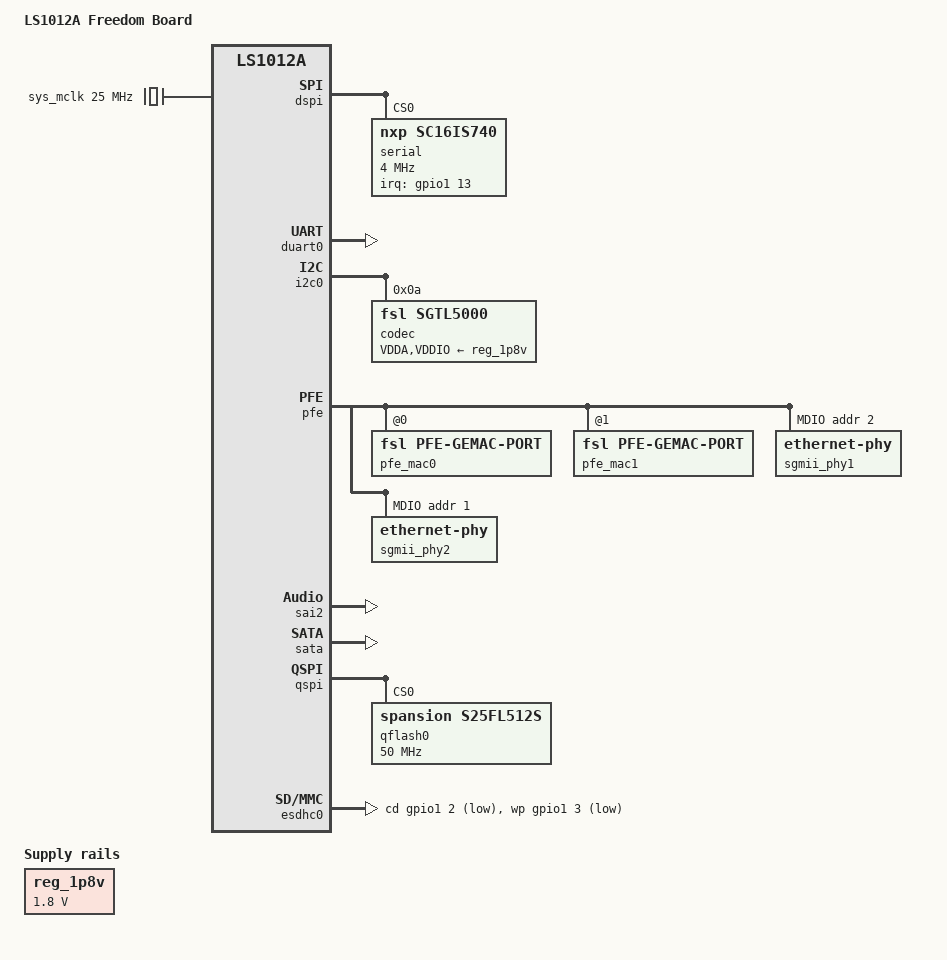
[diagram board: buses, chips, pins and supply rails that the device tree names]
// SPDX-License-Identifier: (GPL-2.0+ OR MIT)
/*
 * Device Tree file for Freescale LS1012A Freedom Board.
 *
 * [references]
 * - https://github.com/lede-project/source/blob/master/target/linux/layerscape/patches-5.4/902-layerscape_improve_support_of_LS1012A-FRDM.patch
 *
 * Copyright 2016 Freescale Semiconductor, Inc.
 *
 */
/dts-v1/;

#include "fsl-ls1012a.dtsi"
 
#include <dt-bindings/interrupt-controller/irq.h>
#include <dt-bindings/gpio/gpio.h>

/ {
	model = "LS1012A Freedom Board";
	compatible = "fsl,ls1012a-frdm", "fsl,ls1012a";

	aliases {
		gpio0 = &gpio0;
		gpio1 = &gpio1;
		spi0 = &qspi;
		spi1 = &dspi;
		mmc0 = &esdhc0;
		serial = &duart0;
		ethernet0 = &pfe_mac0;
		ethernet1 = &pfe_mac1;
	};

	sys_mclk: clock-mclk {
		compatible = "fixed-clock";
		#clock-cells = <0>;
		clock-frequency = <25000000>;
	};

	reg_1p8v: regulator-1p8v {
		compatible = "regulator-fixed";
		regulator-name = "1P8V";
		regulator-min-microvolt = <1800000>;
		regulator-max-microvolt = <1800000>;
		regulator-always-on;
	};

	sound {
		compatible = "simple-audio-card";
		simple-audio-card,format = "i2s";
		simple-audio-card,widgets =
			"Microphone", "Microphone Jack",
			"Headphone", "Headphone Jack",
			"Speaker", "Speaker Ext",
			"Line", "Line In Jack";
		simple-audio-card,routing =
			"MIC_IN", "Microphone Jack",
			"Microphone Jack", "Mic Bias",
			"LINE_IN", "Line In Jack",
			"Headphone Jack", "HP_OUT",
			"Speaker Ext", "LINE_OUT";

		simple-audio-card,cpu {
			sound-dai = <&sai2>;
			frame-master;
			bitclock-master;
		};

		simple-audio-card,codec {
			sound-dai = <&codec>;
			frame-master;
			bitclock-master;
			system-clock-frequency = <25000000>;
		};
	};
};

&dspi {
	status = "okay";
	bus-num = <0>;

	serial@0 {
		reg = <0>;
		compatible = "nxp,sc16is740";
		spi-max-frequency = <4000000>;
		clocks = <&sc16is7xx_clk>;
		interrupt-parent = <&gpio1>;
		interrupts = <13 IRQ_TYPE_EDGE_FALLING>;

		sc16is7xx_clk: sc16is7xx_clk {
			compatible = "fixed-clock";
			#clock-cells = <0>;
			clock-frequency = <24000000>;
		};
	};
};

&duart0 {
	status = "okay";
};

&i2c0 {
	status = "okay";

	codec: sgtl5000@a {
		#sound-dai-cells = <0>;
		compatible = "fsl,sgtl5000";
		reg = <0xa>;
		VDDA-supply = <&reg_1p8v>;
		VDDIO-supply = <&reg_1p8v>;
		clocks = <&sys_mclk>;
	};
};

&pfe {
	status = "okay";
	#address-cells = <1>;
	#size-cells = <0>;

	pfe_mac0: ethernet@0 {
		compatible = "fsl,pfe-gemac-port";
		#address-cells = <1>;
		#size-cells = <0>;
		reg = <0x0>;	/* GEM_ID */
		fsl,mdio-mux-val = <0x0>;
		phy-mode = "sgmii";
		phy-handle = <&sgmii_phy1>;
	};

	pfe_mac1: ethernet@1 {
		compatible = "fsl,pfe-gemac-port";
		#address-cells = <1>;
		#size-cells = <0>;
		reg = <0x1>;	/* GEM_ID */
		fsl,mdio-mux-val = <0x0>;
		phy-mode = "sgmii";
		phy-handle = <&sgmii_phy2>;
	};

	mdio@0 {
		#address-cells = <1>;
		#size-cells = <0>;

		sgmii_phy1: ethernet-phy@2 {
			reg = <0x2>;
		};

		sgmii_phy2: ethernet-phy@1 {
			reg = <0x1>;
		};
	};
};

&sai2 {
	status = "okay";
};

&sata {
	status = "okay";
};

&qspi {
	status = "okay";
	qflash0: s25fs512s@0 {
		compatible = "spansion,s25fl512s", "jedec,spi-nor";
		#address-cells = <1>;
		#size-cells = <1>;
		spi-max-frequency = <50000000>;
		m25p,fast-read;
		reg = <0>;
		spi-rx-bus-width = <2>;
		spi-tx-bus-width = <2>;
	};
};

&gpio0 {
	status = "okay";
};

&gpio1 {
	status = "okay";
};

&dspi {
	status = "okay";
};

&esdhc0 {
	status = "okay";

	cd-gpios = <&gpio1 2 GPIO_ACTIVE_LOW>;
	wp-gpios = <&gpio1 3 GPIO_ACTIVE_LOW>;
};
